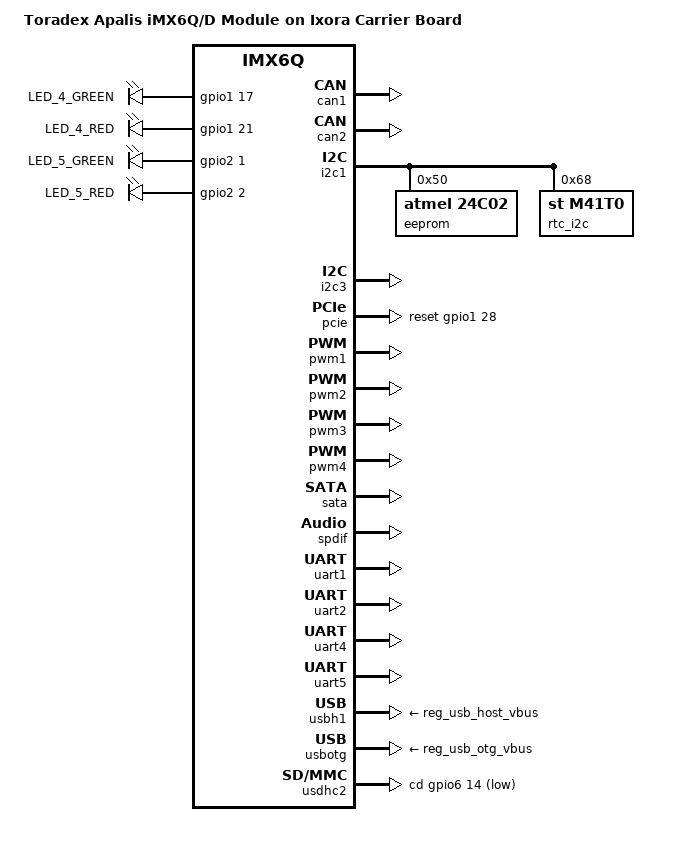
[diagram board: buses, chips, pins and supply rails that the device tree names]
// SPDX-License-Identifier: GPL-2.0-or-later OR MIT
/*
 * Copyright 2014-2022 Toradex
 * Copyright 2012 Freescale Semiconductor, Inc.
 * Copyright 2011 Linaro Ltd.
 */

/dts-v1/;

#include <dt-bindings/gpio/gpio.h>
#include <dt-bindings/input/input.h>
#include <dt-bindings/interrupt-controller/irq.h>
#include "imx6q.dtsi"
#include "imx6qdl-apalis.dtsi"

/ {
	model = "Toradex Apalis iMX6Q/D Module on Ixora Carrier Board";
	compatible = "toradex,apalis_imx6q-ixora", "toradex,apalis_imx6q",
		     "fsl,imx6q";

	aliases {
		i2c0 = &i2c1;
		i2c1 = &i2c3;
		i2c2 = &i2c2;
		rtc0 = &rtc_i2c;
		rtc1 = &snvs_rtc;
	};

	chosen {
		stdout-path = "serial0:115200n8";
	};

	leds {
		compatible = "gpio-leds";
		pinctrl-names = "default";
		pinctrl-0 = <&pinctrl_leds_ixora>;

		led4-green {
			gpios = <&gpio1 17 GPIO_ACTIVE_HIGH>;
			label = "LED_4_GREEN";
		};

		led4-red {
			gpios = <&gpio1 21 GPIO_ACTIVE_HIGH>;
			label = "LED_4_RED";
		};

		led5-green {
			gpios = <&gpio2 1 GPIO_ACTIVE_HIGH>;
			label = "LED_5_GREEN";
		};

		led5-red {
			gpios = <&gpio2 2 GPIO_ACTIVE_HIGH>;
			label = "LED_5_RED";
		};
	};
};

&can1 {
	status = "okay";
};

&can2 {
	status = "okay";
};

/* I2C1_SDA/SCL on MXM3 209/211 (e.g. RTC on carrier board) */
&i2c1 {
	status = "okay";

	eeprom@50 {
		compatible = "atmel,24c02";
		reg = <0x50>;
	};

	/* M41T0M6 real time clock on carrier board */
	rtc_i2c: rtc@68 {
		compatible = "st,m41t0";
		reg = <0x68>;
	};
};

/*
 * I2C3_SDA/SCL (CAM) on MXM3 pin 201/203 (e.g. camera sensor on carrier
 * board)
 */
&i2c3 {
	status = "okay";
};

&pcie {
	pinctrl-names = "default";
	pinctrl-0 = <&pinctrl_reset_moci>;
	/* active-high meaning opposite of regular PERST# active-low polarity */
	reset-gpio = <&gpio1 28 GPIO_ACTIVE_HIGH>;
	reset-gpio-active-high;
	status = "okay";
};

&pwm1 {
	status = "okay";
};

&pwm2 {
	status = "okay";
};

&pwm3 {
	status = "okay";
};

&pwm4 {
	status = "okay";
};

&reg_usb_host_vbus {
	status = "okay";
};

&reg_usb_otg_vbus {
	status = "okay";
};

&sata {
	status = "okay";
};

&sound_spdif {
	status = "okay";
};

&spdif {
	status = "okay";
};

&uart1 {
	status = "okay";
};

&uart2 {
	status = "okay";
};

&uart4 {
	status = "okay";
};

&uart5 {
	status = "okay";
};

&usbh1 {
	vbus-supply = <&reg_usb_host_vbus>;
	status = "okay";
};

&usbotg {
	vbus-supply = <&reg_usb_otg_vbus>;
	status = "okay";
};

/* SD1 */
&usdhc2 {
	cd-gpios = <&gpio6 14 GPIO_ACTIVE_LOW>;
	pinctrl-names = "default";
	pinctrl-0 = <&pinctrl_usdhc2 &pinctrl_sd_cd>;
	status = "okay";
};

&iomuxc {
	pinctrl_leds_ixora: ledsixoragrp {
		fsl,pins = <
			MX6QDL_PAD_SD1_DAT1__GPIO1_IO17 0x1b0b0
			MX6QDL_PAD_SD1_DAT3__GPIO1_IO21 0x1b0b0
			MX6QDL_PAD_NANDF_D1__GPIO2_IO01 0x1b0b0
			MX6QDL_PAD_NANDF_D2__GPIO2_IO02 0x1b0b0
		>;
	};
};
